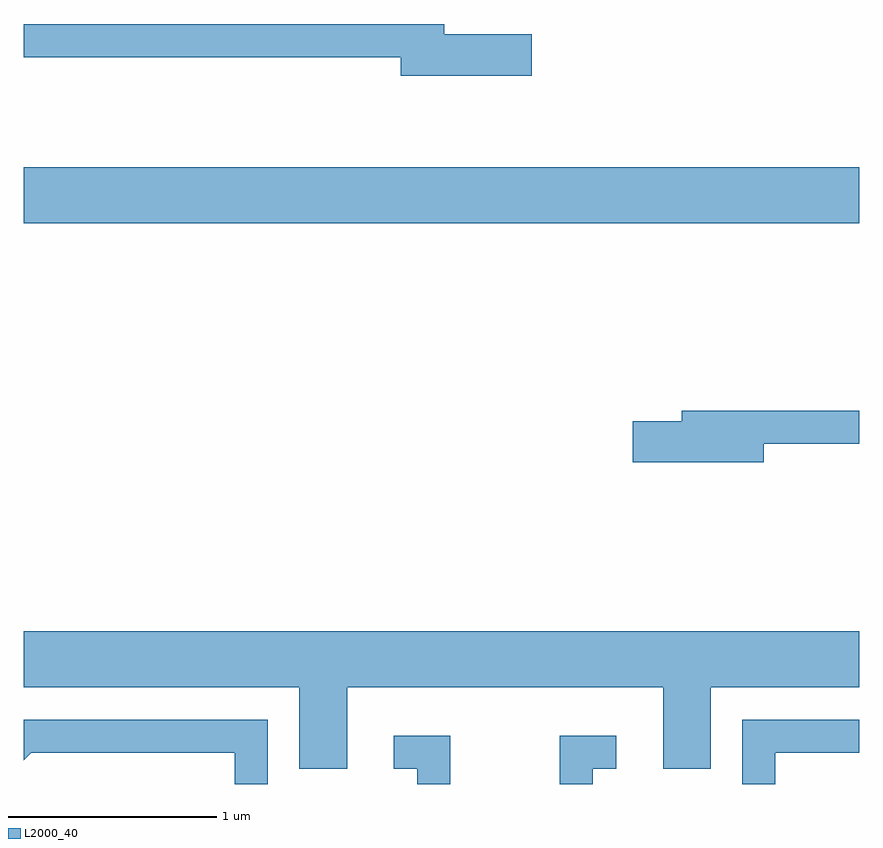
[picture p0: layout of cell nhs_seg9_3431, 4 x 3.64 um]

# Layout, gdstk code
import gdstk
lib = gdstk.Library(unit=1e-6, precision=1e-09)
def R(c, l, rs):  # rectangles x0, y0, x1, y1
    for r in rs: c.add(gdstk.rectangle(r[:2], r[2:], *l))
def P(c, l, *ps):  # polygons
    for p in ps: c.add(gdstk.Polygon(p, *l))
L2000_40 = (2000, 40)

nhs_seg9_3431 = lib.new_cell('nhs_seg9_3431')
R(nhs_seg9_3431, L2000_40, [(285.611,2025.116,289.611,2025.384)])
P(nhs_seg9_3431, L2000_40, [(288.044,2026.019),(287.624,2026.019),(287.624,2026.069),(285.611,2026.069),(285.611,2025.911),(287.416,2025.911),(287.416,2025.821),(288.044,2025.821)],
  [(289.154,2024.061),(289.611,2024.061),(289.611,2024.219),(288.761,2024.219),(288.761,2024.169),(288.526,2024.169),(288.526,2023.971),(289.154,2023.971)],
  [(285.611,2022.896),(286.931,2022.896),(286.931,2022.506),(287.159,2022.506),(287.159,2022.896),(288.671,2022.896),(288.671,2022.506),(288.899,2022.506),(288.899,2022.896),(289.611,2022.896),(289.611,2023.164),(285.611,2023.164)],
  [(286.779,2022.739),(285.611,2022.739),(285.611,2022.545),(285.647,2022.581),(286.621,2022.581),(286.621,2022.432),(286.779,2022.432)],
  [(289.209,2022.581),(289.611,2022.581),(289.611,2022.739),(289.051,2022.739),(289.051,2022.432),(289.209,2022.432)],
  [(288.334,2022.506),(288.448,2022.506),(288.448,2022.664),(288.176,2022.664),(288.176,2022.432),(288.334,2022.432)],
  [(287.654,2022.664),(287.383,2022.664),(287.383,2022.506),(287.496,2022.506),(287.496,2022.432),(287.654,2022.432)])

lib.write_gds('nhs_seg9_3431.gds')
